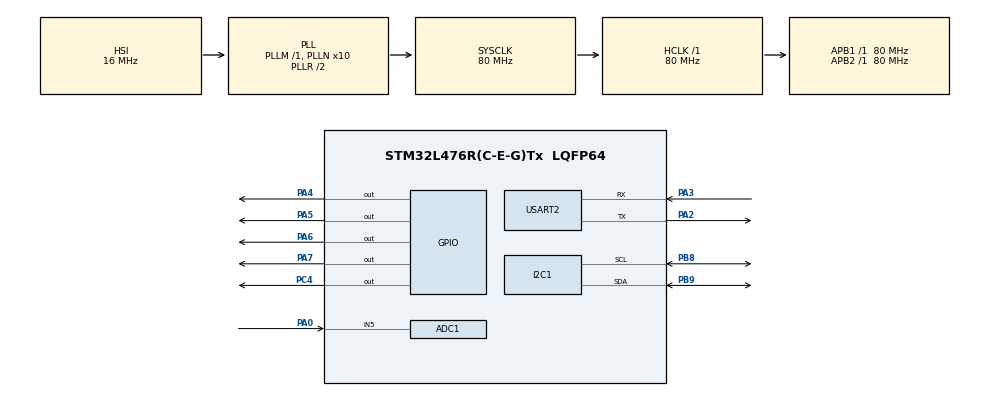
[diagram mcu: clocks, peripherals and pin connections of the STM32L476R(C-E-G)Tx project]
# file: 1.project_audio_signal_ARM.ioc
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ADC1.Channel-0\#ChannelRegularConversion=ADC_CHANNEL_5
ADC1.DMAContinuousRequests=ENABLE
ADC1.ExternalTrigConv=ADC_EXTERNALTRIG_T2_TRGO
ADC1.NbrOfConversionFlag=1
ADC1.OffsetNumber-0\#ChannelRegularConversion=ADC_OFFSET_NONE
ADC1.Rank-0\#ChannelRegularConversion=1
ADC1.SamplingTime-0\#ChannelRegularConversion=ADC_SAMPLETIME_2CYCLES_5
ADC1.master=1
Dma.ADC1.0.Direction=DMA_PERIPH_TO_MEMORY
Dma.ADC1.0.Instance=DMA1_Channel1
Dma.ADC1.0.MemDataAlignment=DMA_MDATAALIGN_HALFWORD
Dma.ADC1.0.MemInc=DMA_MINC_ENABLE
Dma.ADC1.0.Mode=DMA_CIRCULAR
Dma.ADC1.0.PeriphDataAlignment=DMA_PDATAALIGN_HALFWORD
Dma.ADC1.0.PeriphInc=DMA_PINC_DISABLE
Dma.ADC1.0.Priority=DMA_PRIORITY_LOW
Dma.Request0=ADC1
I2C1.Timing=0x10D19CE4
Mcu.Family=STM32L4
Mcu.Name=STM32L476R(C-E-G)Tx
Mcu.Package=LQFP64
NVIC.DMA1_Channel1_IRQn=true\:0\:0\:false\:false\:true\:false\:true\:true
NVIC.PriorityGroup=NVIC_PRIORITYGROUP_4
PA0.Signal=ADCx_IN5
PA13\ (JTMS-SWDIO).Mode=Serial_Wire
PA13\ (JTMS-SWDIO).Signal=SYS_JTMS-SWDIO
PA14\ (JTCK-SWCLK).Mode=Serial_Wire
PA14\ (JTCK-SWCLK).Signal=SYS_JTCK-SWCLK
PA2.Mode=Asynchronous
PA2.Signal=USART2_TX
PA3.Mode=Asynchronous
PA3.Signal=USART2_RX
PA4.Signal=GPIO_Output
PA5.Signal=GPIO_Output
PA6.Signal=GPIO_Output
PA7.Signal=GPIO_Output
PB8.Mode=I2C
PB8.Signal=I2C1_SCL
PB9.Mode=I2C
PB9.Signal=I2C1_SDA
PC4.Signal=GPIO_Output
ProjectManager.HeapSize=0x200
ProjectManager.StackSize=0x400
ProjectManager.TargetToolchain=STM32CubeIDE
RCC.ADCFreq_Value=64000000
RCC.AHBFreq_Value=80000000
RCC.APB1Freq_Value=80000000
RCC.APB1TimFreq_Value=80000000
RCC.APB2Freq_Value=80000000
RCC.APB2TimFreq_Value=80000000
RCC.CortexFreq_Value=80000000
RCC.HCLKFreq_Value=80000000
RCC.HSE_VALUE=8000000
RCC.HSI_VALUE=16000000
RCC.LSE_VALUE=32768
RCC.MSI_VALUE=4000000
RCC.PLLN=10
RCC.PLLSourceVirtual=RCC_PLLSOURCE_HSI
RCC.PREFETCH_ENABLE=1
RCC.SYSCLKFreq_VALUE=80000000
RCC.SYSCLKSource=RCC_SYSCLKSOURCE_PLLCLK
RCC.USBFreq_Value=64000000
RCC.VCOOutputFreq_Value=160000000
SH.ADCx_IN5.0=ADC1_IN5,IN5-Single-Ended
STMicroelectronics.X-CUBE-ALGOBUILD.1.4.0.LibraryCcDSPOoLibraryJjDSPOoLibrary=true
TIM2.AutoReloadPreload=TIM_AUTORELOAD_PRELOAD_ENABLE
TIM2.Period=9999
TIM2.TIM_MasterOutputTrigger=TIM_TRGO_UPDATE
TIM2.TIM_MasterSlaveMode=TIM_MASTERSLAVEMODE_ENABLE
USART2.VirtualMode-Asynchronous=VM_ASYNC
VP_STMicroelectronics.X-CUBE-ALGOBUILD_VS_DSPOoLibraryJjLibrary_1.4.0_1.4.0.Mode=DSPOoLibraryJjLibrary
VP_TIM2_VS_ClockSourceINT.Mode=Internal
board=NUCLEO-L476RG

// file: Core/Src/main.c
/* USER CODE BEGIN Header */
/**
  ******************************************************************************
  * @file           : main.c
  * @brief          : Main program body
  ******************************************************************************
  * @attention
  *
  * Copyright (c) 2025 STMicroelectronics.
  * All rights reserved.
  *
  * This software is licensed under terms that can be found in the LICENSE file
  * in the root directory of this software component.
  * If no LICENSE file comes with this software, it is provided AS-IS.
  *
  ******************************************************************************
  */
/* USER CODE END Header */
#include "main.h"
#include "adc.h"
#include "dma.h"
#include "i2c.h"
#include "tim.h"
#include "usart.h"
#include "gpio.h"

/* USER CODE BEGIN Includes */
#include "arm_math.h"
#include <stdio.h>
#include <string.h>

/* USER CODE END Includes */

/* USER CODE BEGIN PD */
#define FFT_SIZE  1024
#define SAMPLING_FREQ 8000.0f
#define ADC_MID 2048.0f
/* USER CODE END PD */

/* USER CODE BEGIN PV */
uint16_t adc_buffer[FFT_SIZE];       // Raw ADC samples
float32_t fft_input[FFT_SIZE];       // Input for FFT
float32_t fft_output[FFT_SIZE];      // Complex FFT output
float32_t mag_output[FFT_SIZE/2];    // Magnitude spectrum

arm_rfft_fast_instance_f32 fftS;

float32_t peak_freq = 0;
uint32_t peak_bin = 0;

volatile uint8_t fft_ready = 0;

/* USER CODE END PV */

void SystemClock_Config(void);

/* USER CODE BEGIN 0 */

void run_fft(void)
{
    for (int i = 0; i < FFT_SIZE; i++)
        fft_input[i] = (float32_t)adc_buffer[i] - ADC_MID;

    // Compute FFT
    arm_rfft_fast_f32(&fftS, fft_input, fft_output, 0);

    // Compute magnitude
    arm_cmplx_mag_f32(fft_output, mag_output, FFT_SIZE/2);

    // Find peak bin
    peak_bin = 1;
    float max_val = mag_output[1];
    for (int i = 2; i < FFT_SIZE/2; i++)
    {
        if (mag_output[i] > max_val)
        {
            max_val = mag_output[i];
            peak_bin = i;
        }
    }

    // Convert to frequency
    peak_freq = (peak_bin * SAMPLING_FREQ) / FFT_SIZE;

    // Send frequency to PC via UART
    char msg[50];
    int len = snprintf(msg, sizeof(msg), "Frequency: %0.1f Hz\r\n", peak_freq);
    HAL_UART_Transmit(&huart2, (uint8_t*)msg, len, HAL_MAX_DELAY);
   // led_frequency(peak_freq);
}

void HAL_ADC_ConvCpltCallback(ADC_HandleTypeDef *hadc)
{
    fft_ready = 1;
}
/* USER CODE END 0 */

int main(void)
{

  /* MCU Configuration--------------------------------------------------------*/

  /* Reset of all peripherals, Initializes the Flash interface and the Systick. */
  HAL_Init();

  /* Configure the system clock */
  SystemClock_Config();

  /* Initialize all configured peripherals */
  MX_GPIO_Init();
  MX_DMA_Init();
  MX_ADC1_Init();
  MX_TIM2_Init();
  MX_USART2_UART_Init();
  MX_I2C1_Init();
  /* USER CODE BEGIN 2 */
  arm_rfft_fast_init_f32(&fftS, FFT_SIZE);

      HAL_TIM_Base_Start(&htim2);
      HAL_ADC_Start_DMA(&hadc1, (uint32_t*)adc_buffer, FFT_SIZE);
  /* USER CODE END 2 */

  /* Infinite loop */
  while (1)
  {
if(fft_ready)
{
	fft_ready=0;
	run_fft();
}
  }
}

void SystemClock_Config(void)
{
  RCC_OscInitTypeDef RCC_OscInitStruct = {0};
  RCC_ClkInitTypeDef RCC_ClkInitStruct = {0};

  /** Configure the main internal regulator output voltage
  */
  if (HAL_PWREx_ControlVoltageScaling(PWR_REGULATOR_VOLTAGE_SCALE1) != HAL_OK)
  {
    Error_Handler();
  }

  /** Initializes the RCC Oscillators according to the specified parameters
  * in the RCC_OscInitTypeDef structure.
  */
  RCC_OscInitStruct.OscillatorType = RCC_OSCILLATORTYPE_HSI;
  RCC_OscInitStruct.HSIState = RCC_HSI_ON;
  RCC_OscInitStruct.HSICalibrationValue = RCC_HSICALIBRATION_DEFAULT;
  RCC_OscInitStruct.PLL.PLLState = RCC_PLL_ON;
  RCC_OscInitStruct.PLL.PLLSource = RCC_PLLSOURCE_HSI;
  RCC_OscInitStruct.PLL.PLLM = 1;
  RCC_OscInitStruct.PLL.PLLN = 10;
  RCC_OscInitStruct.PLL.PLLP = RCC_PLLP_DIV7;
  RCC_OscInitStruct.PLL.PLLQ = RCC_PLLQ_DIV2;
  RCC_OscInitStruct.PLL.PLLR = RCC_PLLR_DIV2;
  if (HAL_RCC_OscConfig(&RCC_OscInitStruct) != HAL_OK)
  {
    Error_Handler();
  }

  /** Initializes the CPU, AHB and APB buses clocks
  */
  RCC_ClkInitStruct.ClockType = RCC_CLOCKTYPE_HCLK|RCC_CLOCKTYPE_SYSCLK
                              |RCC_CLOCKTYPE_PCLK1|RCC_CLOCKTYPE_PCLK2;
  RCC_ClkInitStruct.SYSCLKSource = RCC_SYSCLKSOURCE_PLLCLK;
  RCC_ClkInitStruct.AHBCLKDivider = RCC_SYSCLK_DIV1;
  RCC_ClkInitStruct.APB1CLKDivider = RCC_HCLK_DIV1;
  RCC_ClkInitStruct.APB2CLKDivider = RCC_HCLK_DIV1;

  if (HAL_RCC_ClockConfig(&RCC_ClkInitStruct, FLASH_LATENCY_4) != HAL_OK)
  {
    Error_Handler();
  }
}

void Error_Handler(void)
{
  __disable_irq();
  while (1)
  {
  }
}
